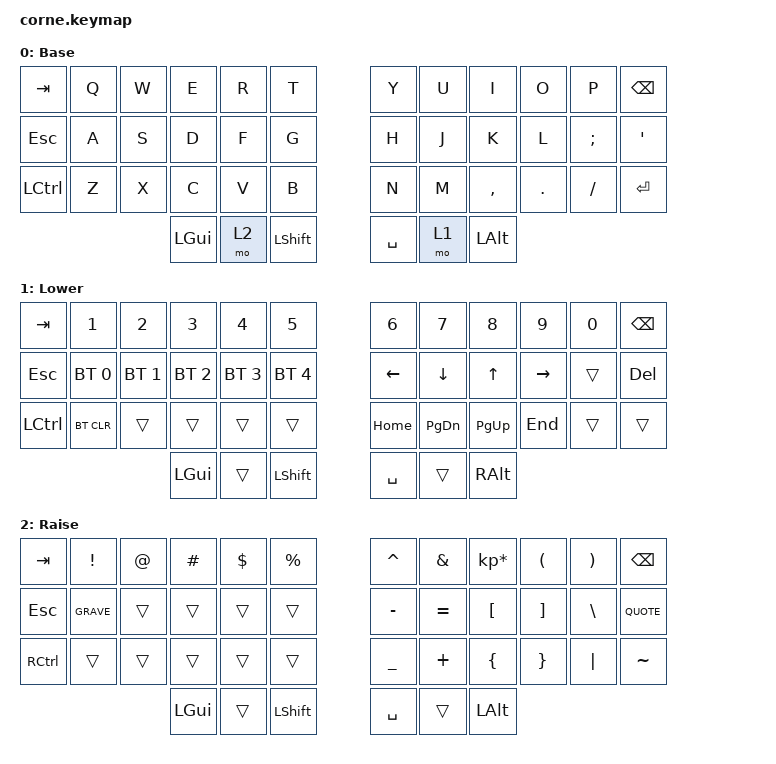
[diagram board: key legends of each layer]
/*
 * Copyright (c) 2020 The ZMK Contributors
 *
 * SPDX-License-Identifier: MIT
 */

#include <behaviors.dtsi>
#include <dt-bindings/zmk/keys.h>
#include <dt-bindings/zmk/bt.h>

// https://zmk.dev/docs/codes

/ {
        keymap {
                compatible = "zmk,keymap";

                default_layer {
// -----------------------------------------------------------------------------------------
// |  TAB |  Q  |  W  |  E  |  R  |  T  |   |  Y   |  U   |  I  |  O  |  P  | BKSP |
// |  ESC |  A  |  S  |  D  |  F  |  G  |   |  H   |  J   |  K  |  L  |  ;  |  '   |
// | LCTL |  Z  |  X  |  C  |  V  |  B  |   |  N   |  M   |  ,  |  .  |  /  | ENT  |
//                    | GUI | RSE | SHFT|   | SPC  | LWR  | ALT |
                        label = "Base";
                        bindings = <
   &kp TAB  &kp Q &kp W &kp E &kp R &kp T   &kp Y &kp U  &kp I     &kp O   &kp P    &kp BSPC
   &kp ESC  &kp A &kp S &kp D &kp F &kp G   &kp H &kp J  &kp K     &kp L   &kp SEMI &kp SQT
   &kp LCTL &kp Z &kp X &kp C &kp V &kp B   &kp N &kp M  &kp COMMA &kp DOT &kp FSLH &kp RET
                 &kp LGUI &mo 2 &kp LSHFT   &kp SPACE &mo 1 &kp LALT
                        >;
                };
                lower_layer {
// -----------------------------------------------------------------------------------------
// | TAB  |  1  |  2  |  3  |  4  |  5  |   |  6  |  7  |  8  |  9  |  0  | BKSP |
// | ESC  | BT1 | BT2 | BT3 | BT4 | BT5 |   | LFT | DWN |  UP | RGT |     | DEL  |
// | LCTL |BTCLR|     |     |     |     |   | HOME|PGDN |PGUP | END |     |      |
//                    | GUI |     | SHFT|   | SPC |     | ALT |
                        label = "Lower";
                        bindings = <
   &kp TAB   &kp N1       &kp N2       &kp N3       &kp N4       &kp N5         &kp N6    &kp N7    &kp N8    &kp N9    &kp N0 &kp BSPC
   &kp ESC   &bt BT_SEL 0 &bt BT_SEL 1 &bt BT_SEL 2 &bt BT_SEL 3 &bt BT_SEL 4   &kp LEFT  &kp DOWN  &kp UP    &kp RIGHT &trans &kp DEL
   &kp LCTL  &bt BT_CLR   &trans       &trans       &trans       &trans         &kp HOME  &kp PG_DN &kp PG_UP &kp END    &trans &trans
                          	       &kp LGUI     &trans       &kp LSHFT      &kp SPACE &trans    &kp RALT
                        >;
                };

                raise_layer {
// -----------------------------------------------------------------------------------------
// | TAB  |  !  |  @  |  #  |  $  |  %  |   |  ^  |  &  |  *  |  (  |  )  | BKSP |
// | ESC  |  `  |     |     |     |     |   |  -  |  =  |  [  |  ]  |  \  |  "   |
// | RCTL |     |     |     |     |     |   |  _  |  +  |  {  |  }  | "|" |  ~   |
//                    | GUI |     | SHFT|   | SPC|     | ALT |
                        label = "Raise";
                        bindings = <
   &kp  TAB  &kp EXCL &kp AT &kp HASH &kp DLLR &kp PRCNT   &kp CARET &kp AMPS  &kp KP_MULTIPLY &kp LPAR &kp RPAR &kp BSPC
   &kp ESC   &GRAVE   &trans &trans   &trans   &trans      &kp MINUS &kp EQUAL &kp LBKT        &kp RBKT &kp BSLH &kp QUOTE
   &kp RCTL  &trans   &trans &trans   &trans   &trans      &kp UNDER &kp PLUS  &kp LBRC        &kp RBRC &kp PIPE &kp TILDE
                    	     &kp LGUI &trans   &kp LSHFT   &kp SPACE &trans    &kp LALT
                        >;
                };
        };
};
